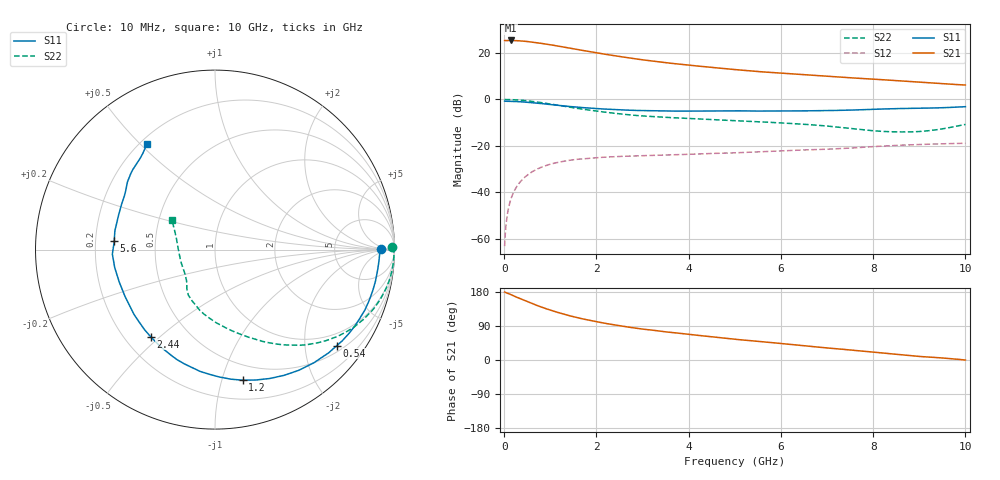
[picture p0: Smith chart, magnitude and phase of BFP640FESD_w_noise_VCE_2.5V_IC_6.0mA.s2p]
! Infineon Technologies  Discrete & RF Semiconductors
! BFP640FESD
! VCE =  2.5 V,  IC =  6.0 mA
! Common Emitter S-Parameters:  Jan 2016
# GHz  S  MA  R  50
!  f  S11  S21  S12  S22
! GHz  MAG  ANG  MAG  ANG  MAG  ANG  MAG  ANG
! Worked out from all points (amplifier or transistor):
!   233 points, 10 MHz to 10 GHz, reference 50 ohm
!   highest |S21| = 25.4 dB at 150 MHz (marker M1)
!   |S21| within 3 dB of that: start of sweep to 1.335 GHz
!   unconditionally stable (mu >= 1): 5.673 GHz to end of sweep
!   at 200 MHz: K = 0.02, MSG = 32.7 dB, |S12| = -40.1 dB
!   at 1.74 GHz: K = 0.33, MSG = 23.2 dB, |S12| = -25.4 dB
!   at 10 GHz: K = 1.19, MAG = 9.9 dB, |S12| = -18.8 dB
!   lowest NFmin = 0.56 dB at 450 MHz
!   S11 on the Smith chart (normalised r, x): 10 MHz: 25, +1; 540 MHz: 0.65, -2.75; 1.2 GHz: 0.36, -1.17; 2.44 GHz: 0.31, -0.47; 5.6 GHz: 0.28, +0.04; 10 GHz: 0.23, +0.53
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0.01  0.9231 0.1  18.58 179.4  0.0007 59.7  0.989 0.8
0.06  0.9156 -4.1  18.5 176.8  0.0029 87.1  0.9974 -2.6
0.15  0.9116 -10.9  18.61 172.3  0.0074 83.7  0.9936 -6.6
0.34  0.8948 -24.5  18.24 162.3  0.0165 76.7  0.9698 -14.8
0.54  0.8642 -38.2  17.46 152.1  0.0252 69.4  0.9274 -22.9
0.7  0.8372 -48.9  16.73 144.5  0.0314 64.1  0.887 -29.1
0.9  0.7994 -61.2  15.62 135.7  0.0378 57.9  0.8301 -36.0
1.02  0.7759 -68.1  14.93 130.9  0.0411 54.8  0.7945 -39.9
1.2  0.7439 -78.0  13.92 124.1  0.0453 50.4  0.7428 -45.3
1.4  0.7101 -88.1  12.83 117.3  0.049 46.2  0.6887 -50.7
1.68  0.672 -100.3  11.46 109.1  0.0528 41.6  0.6236 -57.3
2  0.6389 -112.1  10.08 101.1  0.056 37.8  0.5635 -63.9
2.2  0.6213 -118.9  9.366 96.5  0.0576 35.8  0.5318 -67.9
2.44  0.6032 -126.5  8.604 91.6  0.0592 33.9  0.4989 -72.3
2.88  0.5808 -138.6  7.413 83.6  0.0613 31.4  0.4523 -79.9
3.4  0.5662 -150.1  6.364 75.9  0.0634 29.9  0.4188 -86.6
4.2  0.5636 -164.8  5.24 65.1  0.0673 29.2  0.3821 -94.9
5.1  0.5702 -178.7  4.316 53.6  0.0719 28.8  0.3458 -104.7
5.6  0.5638 175.0  3.926 48.1  0.0754 29.7  0.3288 -108.8
6.8  0.5737 157.2  3.264 34.2  0.084 28.1  0.2784 -123.5
8.4  0.6327 137.8  2.584 16.0  0.102 26.2  0.2024 -157.3
10  0.7004 122.6  2.047 0.0  0.1143 19.2  0.2909 145.6
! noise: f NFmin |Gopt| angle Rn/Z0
0.45  0.56  0.41  7  0.12
2.4  0.71  0.23  58  0.11
5.5  0.99  0.39  149  0.08
10  1.78  0.49  -120  0.24
